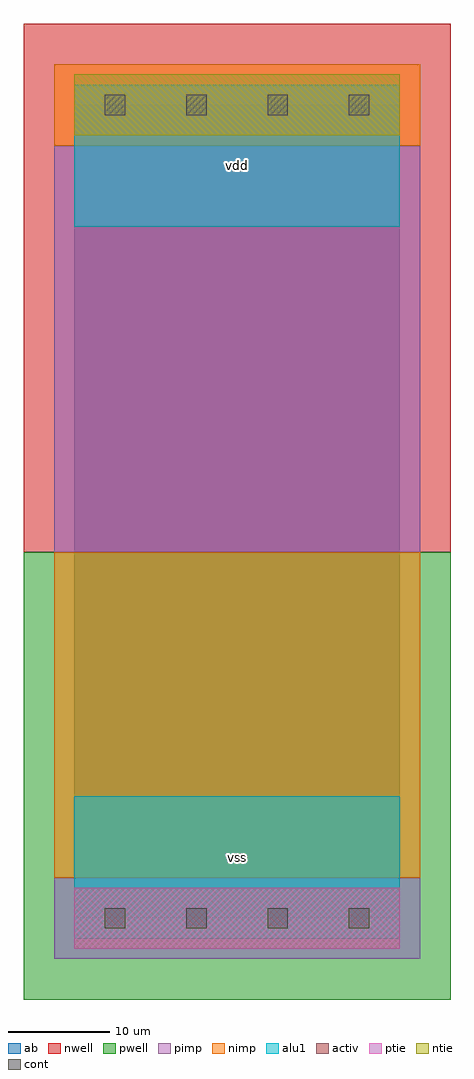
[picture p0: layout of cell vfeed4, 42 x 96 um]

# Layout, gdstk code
import gdstk
lib = gdstk.Library(unit=1e-6, precision=1e-09)
def R(c, l, rs):  # rectangles x0, y0, x1, y1
    for r in rs: c.add(gdstk.rectangle(r[:2], r[2:], *l))
def A(c, l, x, y, w, h, nx, ny, dx, dy):  # array of equal rectangles
    R(c, l, [(x+i*dx, y+j*dy, x+i*dx+w, y+j*dy+h) for i in range(nx) for j in range(ny)])
ntie = (5, 0)
ptie = (6, 0)
cont = (25, 0)
pwell = (41, 0)
nwell = (42, 0)
activ = (43, 0)
pimp = (44, 0)
nimp = (45, 0)
alu1 = (49, 0)
ab = (63, 0)

vfeed4 = lib.new_cell('vfeed4')
R(vfeed4, ntie, [(0,77,32,83)])
R(vfeed4, ptie, [(0,-3,32,3)])
A(vfeed4, cont, 3, -1, 2, 2, 4, 2, 8, 80)
R(vfeed4, pwell, [(-5,-8,37,36)])
R(vfeed4, nwell, [(-5,36,37,88)])
R(vfeed4, activ, [(0,-3,32,3), (0,77,32,83)])
R(vfeed4, pimp, [(-2,-4,34,4), (-2,36,34,76)])
R(vfeed4, nimp, [(-2,4,34,36), (-2,76,34,84)])
R(vfeed4, alu1, [(0,-2,32,12), (0,68,32,82)])
R(vfeed4, ab, [(0,0,32,80)])
vfeed4.add(gdstk.Label('vss', (16,6), layer=49, texttype=0))
vfeed4.add(gdstk.Label('vdd', (16,74), layer=49, texttype=0))

lib.write_gds('vfeed4.gds')
